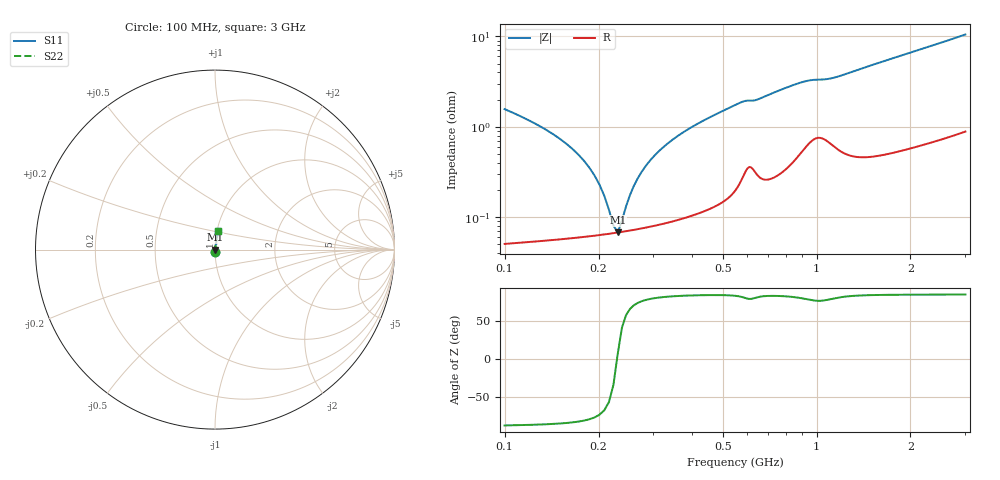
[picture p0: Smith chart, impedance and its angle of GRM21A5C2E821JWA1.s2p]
!Murata Part Number: GRM21A5C2E821JWA1
!These Parameters are Measured in Series Mode Connection
!Data Generated on Mar 30, 2021
!  o--ll--o
!Port1  Port2
!  o------o
!Operation Temp=25[degC], DC Bias Voltage=0[V]
!Freq. Start=100[MHz] Stop=3[GHz] 401[Steps]
# Hz S RI R 50
!Freq.(Hz) S11(Real) S11(Imag) S21(Real) S21(Imag) S12(Real) S12(Imag) S22(Real) S22(Imag)
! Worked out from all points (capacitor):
!   401 points, 100 MHz to 3 GHz, reference 50 ohm
!   read as one part in series: C = 822 pF near 114.5 MHz
!   lowest |Z| = 68.2 mohm at 230.5 MHz (marker M1)
!   series resonance near 229.4 MHz, so ESL is about 590 pH
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1e8  0.000752 -0.0157  0.9992 0.0157  0.9992 0.0157  0.000752 -0.0157
1.3625e8  0.000636 -0.00918  0.9994 0.00918  0.9994 0.00918  0.000636 -0.00918
1.725e8  0.00062 -0.00487  0.9994 0.00487  0.9994 0.00487  0.00062 -0.00487
1.9425e8  0.000633 -0.00282  0.9994 0.00282  0.9994 0.00282  0.000633 -0.00282
2.16e8  0.000656 -0.00102  0.9993 0.00102  0.9993 0.00102  0.000656 -0.00102
2.2325e8  0.000666 -0.000458  0.9993 0.000458  0.9993 0.000458  0.000666 -0.000458
2.305e8  0.000677 8.08e-05  0.9993 -8.08e-05  0.9993 -8.08e-05  0.000677 8.08e-05
2.3775e8  0.000689 0.000604  0.9993 -0.000604  0.9993 -0.000604  0.000689 0.000604
2.595e8  0.000728 0.00209  0.9993 -0.00209  0.9993 -0.00209  0.000728 0.00209
2.8125e8  0.000775 0.00347  0.9992 -0.00347  0.9992 -0.00347  0.000775 0.00347
3.03e8  0.000828 0.00477  0.9992 -0.00477  0.9992 -0.00477  0.000828 0.00477
3.32e8  0.000908 0.0064  0.9991 -0.0064  0.9991 -0.0064  0.000908 0.0064
3.755e8  0.00105 0.00871  0.999 -0.00871  0.999 -0.00871  0.00105 0.00871
4.335e8  0.00129 0.0116  0.9987 -0.0116  0.9987 -0.0116  0.00129 0.0116
5.8575e8  0.00332 0.0188  0.9967 -0.0188  0.9967 -0.0188  0.00332 0.0188
6.4375e8  0.00334 0.0196  0.9967 -0.0196  0.9967 -0.0196  0.00334 0.0196
8.9025e8  0.006 0.0301  0.994 -0.0301  0.994 -0.0301  0.006 0.0301
1.0715e9  0.00809 0.0323  0.9919 -0.0323  0.9919 -0.0323  0.00809 0.0323
1.55e9  0.00712 0.049  0.9929 -0.049  0.9929 -0.049  0.00712 0.049
2.03575e9  0.0102 0.0661  0.9898 -0.0661  0.9898 -0.0661  0.0102 0.0661
2.5215e9  0.0143 0.0835  0.9857 -0.0835  0.9857 -0.0835  0.0143 0.0835
3e9  0.0193 0.1016  0.9807 -0.1016  0.9807 -0.1016  0.0193 0.1016
